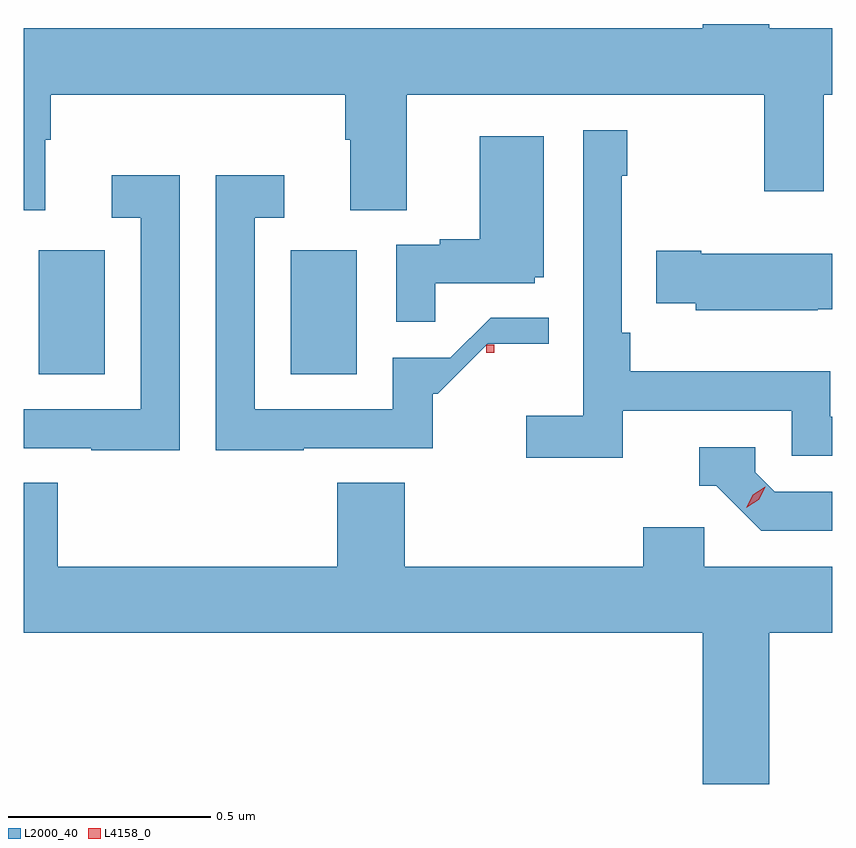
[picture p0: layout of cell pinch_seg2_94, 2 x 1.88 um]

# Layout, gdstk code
import gdstk
lib = gdstk.Library(unit=1e-6, precision=1e-09)
def R(c, l, rs):  # rectangles x0, y0, x1, y1
    for r in rs: c.add(gdstk.rectangle(r[:2], r[2:], *l))
def P(c, l, *ps):  # polygons
    for p in ps: c.add(gdstk.Polygon(p, *l))
L2000_40 = (2000, 40)
L4158_0 = (4158, 0)

pinch_seg2_94 = lib.new_cell('pinch_seg2_94')
R(pinch_seg2_94, L2000_40, [(1038.488,656.268,1038.652,656.575), (1039.112,656.268,1039.276,656.575)])
P(pinch_seg2_94, L2000_40, [(1038.505,656.848),(1038.518,656.848),(1038.518,656.96),(1039.247,656.96),(1039.247,656.848),(1039.259,656.848),(1039.259,656.674),(1039.399,656.674),(1039.399,656.96),(1040.284,656.96),(1040.284,656.721),(1040.431,656.721),(1040.431,656.96),(1040.452,656.96),(1040.452,657.124),(1040.296,657.124),(1040.296,657.135),(1040.132,657.135),(1040.132,657.124),(1038.452,657.124),(1038.452,656.674),(1038.505,656.674)],
  [(1039.934,656.178),(1040.352,656.178),(1040.352,656.067),(1040.452,656.067),(1040.452,656.163),(1040.448,656.163),(1040.448,656.275),(1039.952,656.275),(1039.952,656.371),(1039.932,656.371),(1039.932,656.759),(1039.945,656.759),(1039.945,656.872),(1039.836,656.872),(1039.836,656.165),(1039.695,656.165),(1039.695,656.062),(1039.934,656.062)],
  [(1039.47,656.493),(1039.716,656.493),(1039.716,656.508),(1039.738,656.508),(1039.738,656.857),(1039.58,656.857),(1039.58,656.602),(1039.481,656.602),(1039.481,656.589),(1039.374,656.589),(1039.374,656.398),(1039.47,656.398)],
  [(1038.837,656.761),(1038.669,656.761),(1038.669,656.655),(1038.741,656.655),(1038.741,656.181),(1038.452,656.181),(1038.452,656.085),(1038.619,656.085),(1038.619,656.08),(1038.837,656.08)],
  [(1039.145,656.085),(1039.464,656.085),(1039.464,656.22),(1039.476,656.22),(1039.6,656.344),(1039.751,656.344),(1039.751,656.408),(1039.607,656.408),(1039.507,656.309),(1039.365,656.309),(1039.365,656.181),(1039.023,656.181),(1039.023,656.655),(1039.096,656.655),(1039.096,656.761),(1038.927,656.761),(1038.927,656.08),(1039.145,656.08)],
  [(1040.417,656.429),(1040.452,656.429),(1040.452,656.566),(1040.128,656.566),(1040.128,656.574),(1040.017,656.574),(1040.017,656.444),(1040.115,656.444),(1040.115,656.426),(1040.417,656.426)],
  [(1040.452,655.977),(1040.31,655.977),(1040.262,656.025),(1040.262,656.088),(1040.123,656.088),(1040.123,655.992),(1040.166,655.992),(1040.277,655.881),(1040.452,655.881)],
  [(1040.296,655.628),(1040.452,655.628),(1040.452,655.792),(1040.136,655.792),(1040.136,655.89),(1039.985,655.89),(1039.985,655.792),(1039.394,655.792),(1039.394,656),(1039.228,656),(1039.228,655.792),(1038.536,655.792),(1038.536,656),(1038.452,656),(1038.452,655.628),(1040.132,655.628),(1040.132,655.254),(1040.296,655.254)])
R(pinch_seg2_94, L4158_0, [(1039.596,656.321,1039.616,656.341)])
P(pinch_seg2_94, L4158_0, [(1040.24,655.938),(1040.24,655.938),(1040.256,655.97),(1040.287,655.99),(1040.287,655.99),(1040.287,655.989),(1040.271,655.957),(1040.24,655.938)])

lib.write_gds('pinch_seg2_94.gds')
